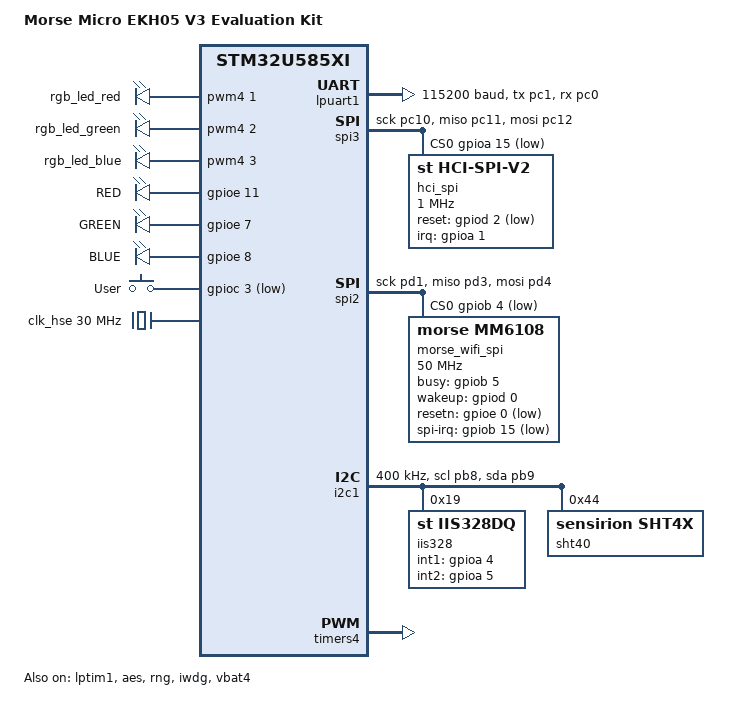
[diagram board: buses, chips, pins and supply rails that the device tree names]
/*
 * Copyright 2025 Morse Micro
 *
 * SPDX-License-Identifier: Apache-2.0
 */

/dts-v1/;
 #include <st/u5/stm32u585Xi.dtsi>
 #include <st/u5/stm32u585vitxq-pinctrl.dtsi>
 #include <zephyr/dt-bindings/input/input-event-codes.h>

/ {
	model = "Morse Micro EKH05 V3 Evaluation Kit";
	compatible = "morsemicro,mm6108-ekh05-v3";

	chosen {
		zephyr,console = &lpuart1;
		zephyr,shell-uart = &lpuart1;

		zephyr,sram = &sram0;
		zephyr,flash = &flash0;

		zephyr,bt-hci = &hci_spi;
	};

	rgb_led {
		compatible = "pwm-leds";

		// From pwm-leds.yaml, it recommends PWM period of 10 or 20 milliseconds.
		rgb_led_red: red_pwm_led {
			pwms = <&pwm4 1 PWM_MSEC(20) PWM_POLARITY_NORMAL>;
		};
		rgb_led_green: green_pwm_led {
			pwms = <&pwm4 2 PWM_MSEC(20) PWM_POLARITY_NORMAL>;
		};
		rgb_led_blue: blue_pwm_led {
			pwms = <&pwm4 3 PWM_MSEC(20) PWM_POLARITY_NORMAL>;
		};
	};

	status_leds {
		compatible = "gpio-leds";
		status_led_red: led_r {
			gpios = <&gpioe 11 GPIO_ACTIVE_HIGH>;
			label = "RED";
		};
		status_led_green: led_g {
			gpios = <&gpioe 7 GPIO_ACTIVE_HIGH>;
			label = "GREEN";
		};
		status_led_blue: led_b {
			gpios = <&gpioe 8 GPIO_ACTIVE_HIGH>;
			label = "BLUE";
		};
	};

	gpio_keys {
		compatible = "gpio-keys";
		user_button: button {
			label = "User";
			gpios = <&gpioc 3 GPIO_ACTIVE_LOW>;
			zephyr,code = <INPUT_KEY_0>;
		};
	};

	aliases {
		led0 = &status_led_red;
		led1 = &status_led_green;
		led2 = &status_led_blue;
		sw0 = &user_button;

		// These aliases add kebab-case names for the rgb_led example
		red-pwm-led = &rgb_led_red;
		green-pwm-led = &rgb_led_green;
		blue-pwm-led = &rgb_led_blue;

		watchdog0 = &iwdg;
		die-temp0 = &die_temp;
		volt-sensor0 = &vref1;
		volt-sensor1 = &vbat4;
		accel0 = &iis328;
		ambient-temp0 = &sht40;
		volt-sensor0 = &adc1;
	};
};

&clk_hsi48 {
	status = "okay";
};

&clk_hse {
	clock-frequency = <DT_FREQ_M(30)>;
	status = "okay";
};

&clk_lse {
	status = "okay";
};

&clk_msis {
	status = "okay";
	msi-range = <4>;
	msi-pll-mode;
};

&pll1 {
	div-m = <6>;
	mul-n = <32>;
	div-q = <1>;
	div-r = <1>;
	clocks = <&clk_hse>;
	status = "okay";
};

&rcc {
	clocks = <&pll1>;
	clock-frequency = <DT_FREQ_M(160)>;
	ahb-prescaler = <1>;
	apb1-prescaler = <1>;
	apb2-prescaler = <1>;
	apb3-prescaler = <1>;
};

&gpioa {
	status = "okay";
};

&gpiob {
	status = "okay";
};

&gpioc {
	status = "okay";
};

&gpiod {
	status = "okay";
};

&gpioe {
	status = "okay";
};


stm32_lp_tick_source: &lptim1 {
	clocks = <&rcc STM32_CLOCK_BUS_APB3 0x00000800>,
		<&rcc STM32_SRC_LSE LPTIM1_SEL(3)>;
	status = "okay";
};

&lpuart1 {
	pinctrl-0 = <&lpuart1_tx_pc1 &lpuart1_rx_pc0>;
	pinctrl-names = "default";
	current-speed = <115200>;
	status = "okay";
};

&spi3 {
	pinctrl-0 = <&spi3_sck_pc10 &spi3_miso_pc11 &spi3_mosi_pc12>;
	pinctrl-names = "default";
	status = "okay";
	cs-gpios = <&gpioa 15 GPIO_ACTIVE_LOW>;
	hci_spi: bluenrg-2@0 {
		compatible = "st,hci-spi-v2";
		reg = <0>;
		reset-gpios = <&gpiod 2 GPIO_ACTIVE_LOW>;
		irq-gpios = <&gpioa 1 (GPIO_ACTIVE_HIGH | GPIO_PULL_DOWN)>;
		spi-cpha; /* CPHA=1 */
		spi-hold-cs;
		spi-max-frequency = <DT_FREQ_M(1)>;
		reset-assert-duration-ms = <6>;
	};
};

/* MM Module SPI connecters */

&spi2_miso_pd3 {
	drive-push-pull;
	bias-disable;
	/delete-property/ bias-pull-down;
	slew-rate = "very-high-speed";
};

&spi2_sck_pd1 {
	drive-push-pull;
	bias-disable;
	/delete-property/ bias-pull-down;
	slew-rate = "very-high-speed";
};

&spi2_mosi_pd4 {
	drive-push-pull;
	bias-disable;
	/delete-property/ bias-pull-down;
	slew-rate = "very-high-speed";
};

&spi2 {
	status = "okay";
	pinctrl-0 = <&spi2_sck_pd1 &spi2_miso_pd3 &spi2_mosi_pd4>;
	pinctrl-names = "default";
	cs-gpios = <&gpiob 4 GPIO_ACTIVE_LOW>;

	morse_wifi_spi: morse@0 {
		status = "okay";
		compatible = "morse,mm6108";
		spi-max-frequency = <50000000>;
		reg = <0>;

		busy-gpios = <&gpiob 5 GPIO_ACTIVE_HIGH>;
		wakeup-gpios = <&gpiod 0 GPIO_ACTIVE_HIGH>;
		resetn-gpios = <&gpioe 0 GPIO_ACTIVE_LOW>;
		spi-irq-gpios = <&gpiob 15 GPIO_ACTIVE_LOW>;
	};
};

&i2c1 {
	pinctrl-0 = <&i2c1_scl_pb8 &i2c1_sda_pb9>;
	pinctrl-names = "default";
	status = "okay";
	clock-frequency = <I2C_BITRATE_FAST>;

	iis328: iis328dq@19 {
		compatible = "st,iis328dq";
		reg = <0x19>;
		int1-gpios = <&gpioa 4 GPIO_ACTIVE_HIGH>;
		int2-gpios = <&gpioa 5 GPIO_ACTIVE_HIGH>;
		status = "okay";
	};

	sht40: sht40@44 {
		compatible = "sensirion,sht4x";
		reg = <0x44>;
		status = "okay";
		repeatability = <2>;
	};
};

&aes {
	status = "okay";
};

&rng {
	status = "okay";
};

&iwdg {
	status = "okay";
};

&vbat4 {
	status = "okay";
};

&gpdma1 {
	status = "okay";
};

&flash0 {
	partitions {
		compatible = "fixed-partitions";
		#address-cells = <1>;
		#size-cells = <1>;

		storage_partition: partition@170000 {
			label = "storage";
			reg = <0x180000 0x00008000>;
		};
	};
};

&timers4 {
	status = "okay";
	st,prescaler = <10000>;
	pwm4: pwm {
		status = "okay";
		pinctrl-names = "default";
		pinctrl-0 = <&tim4_ch1_pd12 &tim4_ch2_pd13 &tim4_ch3_pd14>;
	};
};
